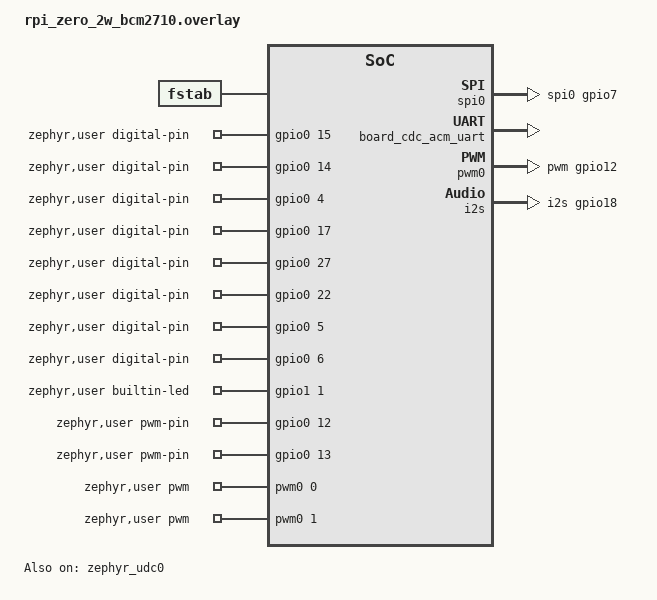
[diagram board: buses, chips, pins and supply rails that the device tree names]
/*
 * Copyright (c) 2026 Jonathan Elliot Peace <jep@alphabetiq.com>
 *
 * SPDX-License-Identifier: Apache-2.0
 *
 * Arduino variant overlay for the Raspberry Pi Zero 2 W (BCM2710A1,
 * Cortex-A53, aarch64). Sketches load from a FAT file on the SD card
 * via Zephyr's fs llext loader -- there is no internal flash and no
 * `user_sketch` partition. See notes/pizza-arduino-phase0.md for the
 * full design.
 */

#include <zephyr/dt-bindings/gpio/gpio.h>
#include <zephyr/dt-bindings/pwm/pwm.h>

/* SPI0 full bus on GPIO 9 (MISO), 10 (MOSI), 11 (SCLK), with CE0 on
 * GPIO 8 driven as a GPIO chip-select. The board DTS enables `&spi0`
 * but leaves pinctrl to the application overlay, by design.
 */
&spi0 {
	pinctrl-names = "default";
	pinctrl-0 = <&spi0_gpio7>;
	cs-gpios = <&gpio0 8 GPIO_ACTIVE_LOW>;
	status = "okay";
};

/* VideoCore mailbox + firmware: the USB PHY on this SoC is powered on via a
 * VC SET_POWER_STATE mailbox call, so both must be enabled before the dwc2
 * controller can enumerate. (Proven on the Phase-6 cdc-loader spike.)
 */
&mbox0 {
	status = "okay";
};

&firmware {
	status = "okay";
};

/* USB device controller (snps,dwc2). The bcm2710 dtsi labels this node both
 * `usb` and `zephyr_udc0`; the Arduino core binds its single USBD context to
 * DT_NODELABEL(zephyr_udc0). The CDC ACM child is the board's `Serial` -- the
 * loader owns USB bring-up and the upload channel, see the variant .conf
 * (CONFIG_ARDUINO_USB_LOADER_OWNED) and loader/main.c.
 */
&zephyr_udc0 {
	status = "okay";

	board_cdc_acm_uart: board_cdc_acm_uart {
		compatible = "zephyr,cdc-acm-uart";
	};
};

/* BCM283x PWM block -- channel 0 on GPIO 12 (header pin 32), channel 1
 * on GPIO 13 (header pin 33), both ALT0: the conflict-free pair (no
 * overlap with I2S, analog/HDMI audio, the UART console or the ACT
 * LED). Deferred init + the "arduino" pinctrl state follow the
 * upstream giga convention: the core's analogWrite() calls
 * device_init() on first use and muxes just the one channel's pin
 * back to PWM after any digitalWrite() flipped it to GPIO.
 */
&pwm0 {
	status = "okay";
	zephyr,deferred-init;
	/* Single "arduino" state, no "default": the BCM pinctrl takes
	 * exactly ONE group phandle per state, and the driver skips a
	 * missing default (-ENOENT tolerated), so nothing muxes until
	 * the first analogWrite(). pwm_gpio12's pin order (GPIO 12,
	 * GPIO 13) is the per-channel index the core uses.
	 */
	pinctrl-0 = <&pwm_gpio12>;
	pinctrl-names = "arduino";
};

/* BCM283x PCM / I2S block on GPIO 18 (BCK), 19 (LRCK), 20 (DIN),
 * 21 (DOUT), all ALT0 -- header pins 12/35/38/40. Unlike PWM there is
 * no per-channel pin dance (none of these GPIOs are in the digital pin
 * map), so a plain deferred "default" state suffices: nothing muxes at
 * boot, and the driver init applies it when the sketch's first
 * I2S.begin() runs device_init().
 */
&i2s {
	status = "okay";
	zephyr,deferred-init;
	pinctrl-0 = <&i2s_gpio18>;
	pinctrl-names = "default";
};

/ {
	fstab {
		compatible = "zephyr,fstab";

		sd: sd {
			compatible = "zephyr,fstab,fatfs";
			disk-access;
			automount;
			mount-point = "/SD:";
		};
	};

	zephyr,user {
		/*
		 * Arduino digital pin map for the Pi 40-pin header.
		 * D0/D1 follow the Arduino Uno convention (D0 = RX, D1 = TX);
		 * D10..D13 align with SPI0 so SPI sketches Just Work.
		 *
		 *   D0  = GPIO 15  (UART1 RX)         header pin 10
		 *   D1  = GPIO 14  (UART1 TX)         header pin 8
		 *   D2  = GPIO  4                     header pin 7
		 *   D3  = GPIO 17                     header pin 11
		 *   D4  = GPIO 27                     header pin 13
		 *   D5  = GPIO 22                     header pin 15
		 *   D6  = GPIO  5                     header pin 29
		 *   D7  = GPIO  6                     header pin 31
		 *   D8  = GPIO 23                     header pin 16
		 *   D9  = GPIO 24                     header pin 18
		 *   D10 = GPIO  8  (SPI0 CE0)         header pin 24
		 *   D11 = GPIO 10  (SPI0 MOSI)        header pin 19
		 *   D12 = GPIO  9  (SPI0 MISO)        header pin 21
		 *   D13 = GPIO 11  (SPI0 SCLK)        header pin 23
		 *   D14 = GPIO 29  (on-board ACT LED) no header pin
		 *   D15 = GPIO 12  (PWM0)             header pin 32
		 *   D16 = GPIO 13  (PWM1)             header pin 33
		 *
		 * D14 isn't on the 40-pin header -- it's the green on-board
		 * activity LED. The Pi Zero 2 W uses the Pi 3 family's
		 * LED location (GPIO 29) rather than the original Pi Zero W's
		 * GPIO 47 -- confirmed empirically 2026-06-06 (GPIO 47
		 * toggles cleanly at the register but doesn't light the
		 * board's LED; GPIO 29 does). We expose it as the Arduino
		 * BUILTIN LED so the standard Blink sketch
		 * (`digitalWrite(LED_BUILTIN, ...)`) blinks the on-board LED
		 * without requiring an external jumper to D13.
		 * ArduinoCore-zephyr's `LED_BUILTIN` macro
		 * (cores/arduino/Arduino.h:54-67) finds the matching entry
		 * in `digital-pin-gpios` and returns its index -- so
		 * `LED_BUILTIN` resolves to `14`.
		 *
		 * NOTE: a separate variant directory for the original Pi
		 * Zero W (BCM2835, ARMv6) will use `<&gpio1 19>` (GPIO 47)
		 * for its on-board LED.
		 */
		digital-pin-gpios = <&gpio0 15 0>,
				    <&gpio0 14 0>,
				    <&gpio0  4 0>,
				    <&gpio0 17 0>,
				    <&gpio0 27 0>,
				    <&gpio0 22 0>,
				    <&gpio0  5 0>,
				    <&gpio0  6 0>,
				    <&gpio0 23 0>,
				    <&gpio0 24 0>,
				    <&gpio0  8 0>,
				    <&gpio0 10 0>,
				    <&gpio0  9 0>,
				    <&gpio0 11 0>,
				    <&gpio1  1 0>,
				    <&gpio0 12 0>,
				    <&gpio0 13 0>;

		/* On-board ACT LED -- BCM GPIO 29, ACTIVE_HIGH. */
		builtin-led-gpios = <&gpio1 1 GPIO_ACTIVE_HIGH>;

		/*
		 * `Serial` is the USB CDC ACM device (matching every other
		 * Arduino USB board): it carries both the sketch's serial I/O
		 * and the Phase-6 upload channel. The presence of
		 * `cdc-acm-serial` makes ArduinoCore's ZARD_FIRST_SERIAL_IS_SERIALUSB
		 * true, so `Serial` is a SerialUSB_ on this node.
		 *
		 * The board's mini-UART (uart1 @ GPIO 14/15, 115200) drops to
		 * `Serial1` and remains the console + LOG_* backend (chosen
		 * zephyr,console in the board DTS). Higher `SerialN` slots are
		 * unbound until a second UART gets wired.
		 */
		cdc-acm-serial = <&board_cdc_acm_uart>;
		serials = <&uart1>;

		/* Wire = BSC1 ("I2C1") at GPIO 2 (SDA) / GPIO 3 (SCL). */
		i2cs = <&i2c1>;

		/* SPI = SPI0 full bus, see &spi0 above. */
		spis = <&spi0>;

		/* I2S = the PCM block, see &i2s above. */
		i2ses = <&i2s>;

		/*
		 * Hardware PWM: analogWrite() works on D15 (GPIO 12) and
		 * D16 (GPIO 13) -- the BCM283x PWM block only reaches
		 * those two header pins (see &pwm0 above). The 490 Hz
		 * period matches the Arduino Uno's analogWrite frequency.
		 * On every other pin analogWrite() falls back to the
		 * upstream digital threshold behaviour (>= half scale ->
		 * HIGH). The pwms entry order pairs with the "arduino"
		 * pinctrl state's pin order in &pwm0.
		 */
		pwms = <&pwm0 0 PWM_HZ(490) PWM_POLARITY_NORMAL>,
		       <&pwm0 1 PWM_HZ(490) PWM_POLARITY_NORMAL>;
		pwm-pin-gpios = <&gpio0 12 0>, <&gpio0 13 0>;

		/*
		 * No ADC on this SoC -> `analogRead` is unavailable; no
		 * `adc-pin-gpios` / `io-channels` nodes by design.
		 */
	};
};
